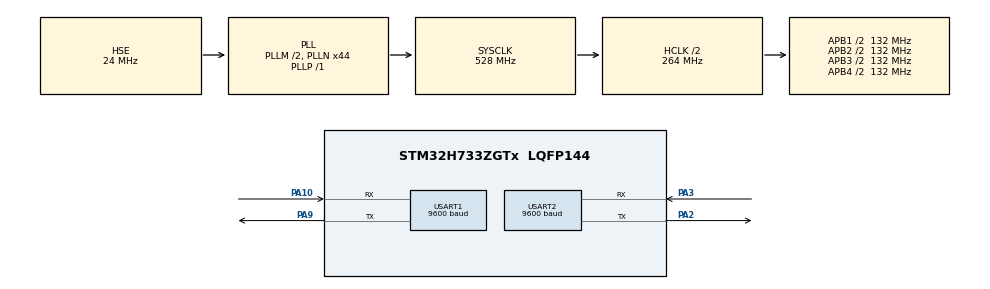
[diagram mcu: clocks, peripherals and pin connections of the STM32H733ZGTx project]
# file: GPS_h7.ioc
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CORTEX_M7.default_mode_Activation=1
Mcu.Family=STM32H7
Mcu.Name=STM32H733ZGTx
Mcu.Package=LQFP144
NVIC.PriorityGroup=NVIC_PRIORITYGROUP_4
PA10.Mode=Asynchronous
PA10.Signal=USART1_RX
PA2.Mode=Asynchronous
PA2.Signal=USART2_TX
PA3.Mode=Asynchronous
PA3.Signal=USART2_RX
PA9.Mode=Asynchronous
PA9.Signal=USART1_TX
PH0-OSC_IN.Mode=HSE-External-Oscillator
PH0-OSC_IN.Signal=RCC_OSC_IN
PH1-OSC_OUT.Mode=HSE-External-Oscillator
PH1-OSC_OUT.Signal=RCC_OSC_OUT
ProjectManager.HeapSize=0x200
ProjectManager.StackSize=0x400
ProjectManager.TargetToolchain=STM32CubeIDE
RCC.ADCFreq_Value=48375000
RCC.APB1Freq_Value=132000000
RCC.APB2Freq_Value=132000000
RCC.APB3Freq_Value=132000000
RCC.APB4Freq_Value=132000000
RCC.CortexFreq_Value=528000000
RCC.D1PPRE=RCC_APB3_DIV2
RCC.D2PPRE1=RCC_APB1_DIV2
RCC.D2PPRE2=RCC_APB2_DIV2
RCC.D3PPRE=RCC_APB4_DIV2
RCC.DIVM1=2
RCC.DIVN1=44
RCC.DIVP1=1
RCC.HCLKFreq_Value=264000000
RCC.HPRE=RCC_HCLK_DIV2
RCC.HSE_VALUE=24000000
RCC.PLL2FRACN=0
RCC.PLL3FRACN=0
RCC.PLLFRACN=0
RCC.PLLSourceVirtual=RCC_PLLSOURCE_HSE
RCC.SYSCLKFreq_VALUE=528000000
RCC.SYSCLKSource=RCC_SYSCLKSOURCE_PLLCLK
RCC.USBFreq_Value=264000000
USART1.BaudRate=9600
USART1.VirtualMode-Asynchronous=VM_ASYNC
USART2.BaudRate=9600
USART2.VirtualMode-Asynchronous=VM_ASYNC
VP_MEMORYMAP_VS_MEMORYMAP.Mode=CurAppReg
board=custom

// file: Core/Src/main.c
/* USER CODE BEGIN Header */
/**
  ******************************************************************************
  * @file           : main.c
  * @brief          : Main program body
  ******************************************************************************
  * @attention
  *
  * Copyright (c) 2024 STMicroelectronics.
  * All rights reserved.
  *
  * This software is licensed under terms that can be found in the LICENSE file
  * in the root directory of this software component.
  * If no LICENSE file comes with this software, it is provided AS-IS.
  *
  ******************************************************************************
  */
/* USER CODE END Header */
#include "main.h"

/* USER CODE BEGIN Includes */
#include <string.h>
#include <stdio.h>
#include <stdlib.h>
#include "gps_parsing.h"
/* USER CODE END Includes */

UART_HandleTypeDef huart1;
UART_HandleTypeDef huart2;

/* USER CODE BEGIN PV */
char uart_msg[100];
char uart_gps[100];
uint8_t pulsador_ant = 1, pulsador_act = 1;
/* USER CODE END PV */

void SystemClock_Config(void);
static void MPU_Config(void);
static void MX_GPIO_Init(void);
static void MX_USART1_UART_Init(void);
static void MX_USART2_UART_Init(void);
/* USER CODE BEGIN PFP */
void print(char uart_buffer[]);

/* USER CODE END PFP */

int main(void)
{

  /* MPU Configuration--------------------------------------------------------*/
  MPU_Config();

  /* MCU Configuration--------------------------------------------------------*/

  /* Reset of all peripherals, Initializes the Flash interface and the Systick. */
  HAL_Init();

  /* Configure the system clock */
  SystemClock_Config();

  /* Initialize all configured peripherals */
  MX_GPIO_Init();
  MX_USART1_UART_Init();
  MX_USART2_UART_Init();
  /* USER CODE BEGIN 2 */

  print(". . . . . .");
  static const struct GPGGA_Data EmptyGPGGAStruct;
  GPGGA_Data data;

  /* USER CODE END 2 */

  /* Infinite loop */
  while (1)
  {

    /* USER CODE BEGIN 3 */
	//MX_GPIO_Init();
	//MX_USART2_UART_Init();
	// Por algún motivo hace falta que este init esté en el bucle
	MX_USART1_UART_Init();
	memset(uart_gps, 0, sizeof(uart_gps));  // Limpiar buffer antes de recibir datos
	HAL_StatusTypeDef result = HAL_UART_Receive(&huart1, (uint8_t*) uart_gps, sizeof(uart_gps) - 1, 1000);  // Intentar recibir datos

	if (result == HAL_OK) {
		uart_gps[sizeof(uart_gps) - 1] = '\0';  // Asegurar terminación nula
		print("Data received:");
		//GPGGA_Data data;
		data = EmptyGPGGAStruct;
		process_gps_data(uart_gps, &data);
		// ahora en data tienes los datos de GPGGA, que son los importantes
		// cuando el gps devuelve el string gpgga sin apenas datos aparecen resultados sin sentido en data
		//print(uart_gps);  // Opcional: Imprimir todos los datos recibidos
	} else {
		print("No data received or error occurred");
	}
	HAL_Delay(2000);
  }
  /* USER CODE END 3 */
}

void SystemClock_Config(void)
{
  RCC_OscInitTypeDef RCC_OscInitStruct = {0};
  RCC_ClkInitTypeDef RCC_ClkInitStruct = {0};

  /** Supply configuration update enable
  */
  HAL_PWREx_ConfigSupply(PWR_LDO_SUPPLY);

  /** Configure the main internal regulator output voltage
  */
  __HAL_PWR_VOLTAGESCALING_CONFIG(PWR_REGULATOR_VOLTAGE_SCALE0);

  while(!__HAL_PWR_GET_FLAG(PWR_FLAG_VOSRDY)) {}

  /** Initializes the RCC Oscillators according to the specified parameters
  * in the RCC_OscInitTypeDef structure.
  */
  RCC_OscInitStruct.OscillatorType = RCC_OSCILLATORTYPE_HSE;
  RCC_OscInitStruct.HSEState = RCC_HSE_ON;
  RCC_OscInitStruct.PLL.PLLState = RCC_PLL_ON;
  RCC_OscInitStruct.PLL.PLLSource = RCC_PLLSOURCE_HSE;
  RCC_OscInitStruct.PLL.PLLM = 2;
  RCC_OscInitStruct.PLL.PLLN = 44;
  RCC_OscInitStruct.PLL.PLLP = 1;
  RCC_OscInitStruct.PLL.PLLQ = 2;
  RCC_OscInitStruct.PLL.PLLR = 2;
  RCC_OscInitStruct.PLL.PLLRGE = RCC_PLL1VCIRANGE_3;
  RCC_OscInitStruct.PLL.PLLVCOSEL = RCC_PLL1VCOWIDE;
  RCC_OscInitStruct.PLL.PLLFRACN = 0;
  if (HAL_RCC_OscConfig(&RCC_OscInitStruct) != HAL_OK)
  {
    Error_Handler();
  }

  /** Initializes the CPU, AHB and APB buses clocks
  */
  RCC_ClkInitStruct.ClockType = RCC_CLOCKTYPE_HCLK|RCC_CLOCKTYPE_SYSCLK
                              |RCC_CLOCKTYPE_PCLK1|RCC_CLOCKTYPE_PCLK2
                              |RCC_CLOCKTYPE_D3PCLK1|RCC_CLOCKTYPE_D1PCLK1;
  RCC_ClkInitStruct.SYSCLKSource = RCC_SYSCLKSOURCE_PLLCLK;
  RCC_ClkInitStruct.SYSCLKDivider = RCC_SYSCLK_DIV1;
  RCC_ClkInitStruct.AHBCLKDivider = RCC_HCLK_DIV2;
  RCC_ClkInitStruct.APB3CLKDivider = RCC_APB3_DIV2;
  RCC_ClkInitStruct.APB1CLKDivider = RCC_APB1_DIV2;
  RCC_ClkInitStruct.APB2CLKDivider = RCC_APB2_DIV2;
  RCC_ClkInitStruct.APB4CLKDivider = RCC_APB4_DIV2;

  if (HAL_RCC_ClockConfig(&RCC_ClkInitStruct, FLASH_LATENCY_3) != HAL_OK)
  {
    Error_Handler();
  }
}

static void MX_USART1_UART_Init(void)
{

  huart1.Instance = USART1;
  huart1.Init.BaudRate = 9600;
  huart1.Init.WordLength = UART_WORDLENGTH_8B;
  huart1.Init.StopBits = UART_STOPBITS_1;
  huart1.Init.Parity = UART_PARITY_NONE;
  huart1.Init.Mode = UART_MODE_TX_RX;
  huart1.Init.HwFlowCtl = UART_HWCONTROL_NONE;
  huart1.Init.OverSampling = UART_OVERSAMPLING_16;
  huart1.Init.OneBitSampling = UART_ONE_BIT_SAMPLE_DISABLE;
  huart1.Init.ClockPrescaler = UART_PRESCALER_DIV1;
  huart1.AdvancedInit.AdvFeatureInit = UART_ADVFEATURE_NO_INIT;
  if (HAL_UART_Init(&huart1) != HAL_OK)
  {
    Error_Handler();
  }
  if (HAL_UARTEx_SetTxFifoThreshold(&huart1, UART_TXFIFO_THRESHOLD_1_8) != HAL_OK)
  {
    Error_Handler();
  }
  if (HAL_UARTEx_SetRxFifoThreshold(&huart1, UART_RXFIFO_THRESHOLD_1_8) != HAL_OK)
  {
    Error_Handler();
  }
  if (HAL_UARTEx_DisableFifoMode(&huart1) != HAL_OK)
  {
    Error_Handler();
  }

}

static void MX_USART2_UART_Init(void)
{

  huart2.Instance = USART2;
  huart2.Init.BaudRate = 9600;
  huart2.Init.WordLength = UART_WORDLENGTH_8B;
  huart2.Init.StopBits = UART_STOPBITS_1;
  huart2.Init.Parity = UART_PARITY_NONE;
  huart2.Init.Mode = UART_MODE_TX_RX;
  huart2.Init.HwFlowCtl = UART_HWCONTROL_NONE;
  huart2.Init.OverSampling = UART_OVERSAMPLING_16;
  huart2.Init.OneBitSampling = UART_ONE_BIT_SAMPLE_DISABLE;
  huart2.Init.ClockPrescaler = UART_PRESCALER_DIV1;
  huart2.AdvancedInit.AdvFeatureInit = UART_ADVFEATURE_NO_INIT;
  if (HAL_UART_Init(&huart2) != HAL_OK)
  {
    Error_Handler();
  }
  if (HAL_UARTEx_SetTxFifoThreshold(&huart2, UART_TXFIFO_THRESHOLD_1_8) != HAL_OK)
  {
    Error_Handler();
  }
  if (HAL_UARTEx_SetRxFifoThreshold(&huart2, UART_RXFIFO_THRESHOLD_1_8) != HAL_OK)
  {
    Error_Handler();
  }
  if (HAL_UARTEx_DisableFifoMode(&huart2) != HAL_OK)
  {
    Error_Handler();
  }

}

static void MX_GPIO_Init(void)
{

  /* GPIO Ports Clock Enable */
  __HAL_RCC_GPIOH_CLK_ENABLE();
  __HAL_RCC_GPIOA_CLK_ENABLE();

}

/* USER CODE BEGIN 4 */
void print(char uart_buffer[]){
	sprintf(uart_msg, "%s\r\n", uart_buffer);
	HAL_UART_Transmit(&huart2, (uint8_t*) uart_msg, strlen(uart_msg), HAL_MAX_DELAY);
}
/* USER CODE END 4 */

 /* MPU Configuration */

void MPU_Config(void)
{
  MPU_Region_InitTypeDef MPU_InitStruct = {0};

  /* Disables the MPU */
  HAL_MPU_Disable();

  /** Initializes and configures the Region and the memory to be protected
  */
  MPU_InitStruct.Enable = MPU_REGION_ENABLE;
  MPU_InitStruct.Number = MPU_REGION_NUMBER0;
  MPU_InitStruct.BaseAddress = 0x0;
  MPU_InitStruct.Size = MPU_REGION_SIZE_4GB;
  MPU_InitStruct.SubRegionDisable = 0x87;
  MPU_InitStruct.TypeExtField = MPU_TEX_LEVEL0;
  MPU_InitStruct.AccessPermission = MPU_REGION_NO_ACCESS;
  MPU_InitStruct.DisableExec = MPU_INSTRUCTION_ACCESS_DISABLE;
  MPU_InitStruct.IsShareable = MPU_ACCESS_SHAREABLE;
  MPU_InitStruct.IsCacheable = MPU_ACCESS_NOT_CACHEABLE;
  MPU_InitStruct.IsBufferable = MPU_ACCESS_NOT_BUFFERABLE;

  HAL_MPU_ConfigRegion(&MPU_InitStruct);
  /* Enables the MPU */
  HAL_MPU_Enable(MPU_PRIVILEGED_DEFAULT);

}

void Error_Handler(void)
{
  __disable_irq();
  while (1)
  {
  }
}
